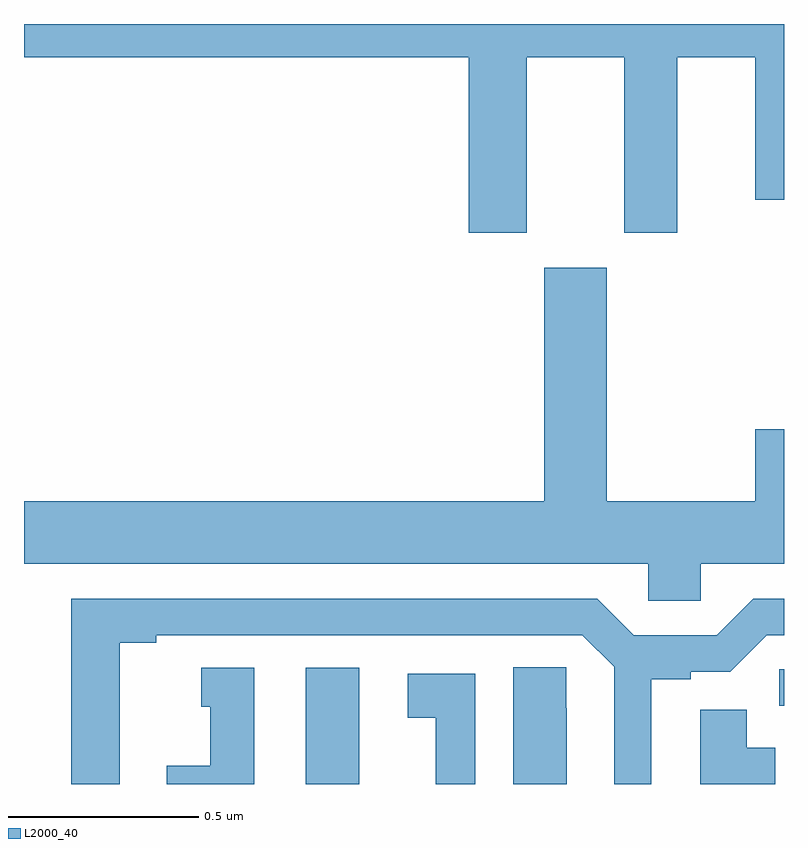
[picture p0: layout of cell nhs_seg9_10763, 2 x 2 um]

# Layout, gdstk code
import gdstk
lib = gdstk.Library(unit=1e-6, precision=1e-09)
def R(c, l, rs):  # rectangles x0, y0, x1, y1
    for r in rs: c.add(gdstk.rectangle(r[:2], r[2:], *l))
def P(c, l, *ps):  # polygons
    for p in ps: c.add(gdstk.Polygon(p, *l))
L2000_40 = (2000, 40)

nhs_seg9_10763 = lib.new_cell('nhs_seg9_10763')
R(nhs_seg9_10763, L2000_40, [(247.742,1202.5,247.882,1202.806), (248.988,1202.706,249,1202.802)])
P(nhs_seg9_10763, L2000_40, [(248.323,1204.412),(248.579,1204.412),(248.579,1203.951),(248.719,1203.951),(248.719,1204.412),(248.924,1204.412),(248.924,1204.038),(249,1204.038),(249,1204.5),(247,1204.5),(247,1204.412),(248.171,1204.412),(248.171,1203.951),(248.323,1203.951)],
  [(248.781,1203.08),(249,1203.08),(249,1203.433),(248.924,1203.433),(248.924,1203.244),(248.533,1203.244),(248.533,1203.859),(248.369,1203.859),(248.369,1203.244),(247,1203.244),(247,1203.08),(248.643,1203.08),(248.643,1202.982),(248.781,1202.982)],
  [(247.252,1202.872),(247.348,1202.872),(247.348,1202.892),(248.469,1202.892),(248.553,1202.808),(248.553,1202.5),(248.65,1202.5),(248.65,1202.776),(248.754,1202.776),(248.754,1202.796),(248.859,1202.796),(248.955,1202.892),(249,1202.892),(249,1202.988),(248.919,1202.988),(248.823,1202.892),(248.605,1202.892),(248.509,1202.988),(247.124,1202.988),(247.124,1202.5),(247.252,1202.5)],
  [(248.428,1202.699),(248.427,1202.699),(248.427,1202.807),(248.288,1202.807),(248.288,1202.5),(248.428,1202.5)],
  [(247.606,1202.806),(247.466,1202.806),(247.466,1202.703),(247.49,1202.703),(247.49,1202.548),(247.376,1202.548),(247.376,1202.5),(247.606,1202.5)],
  [(248.188,1202.79),(248.01,1202.79),(248.01,1202.674),(248.084,1202.674),(248.084,1202.5),(248.188,1202.5)],
  [(248.977,1202.596),(248.902,1202.596),(248.902,1202.695),(248.78,1202.695),(248.78,1202.5),(248.977,1202.5)])

lib.write_gds('nhs_seg9_10763.gds')
